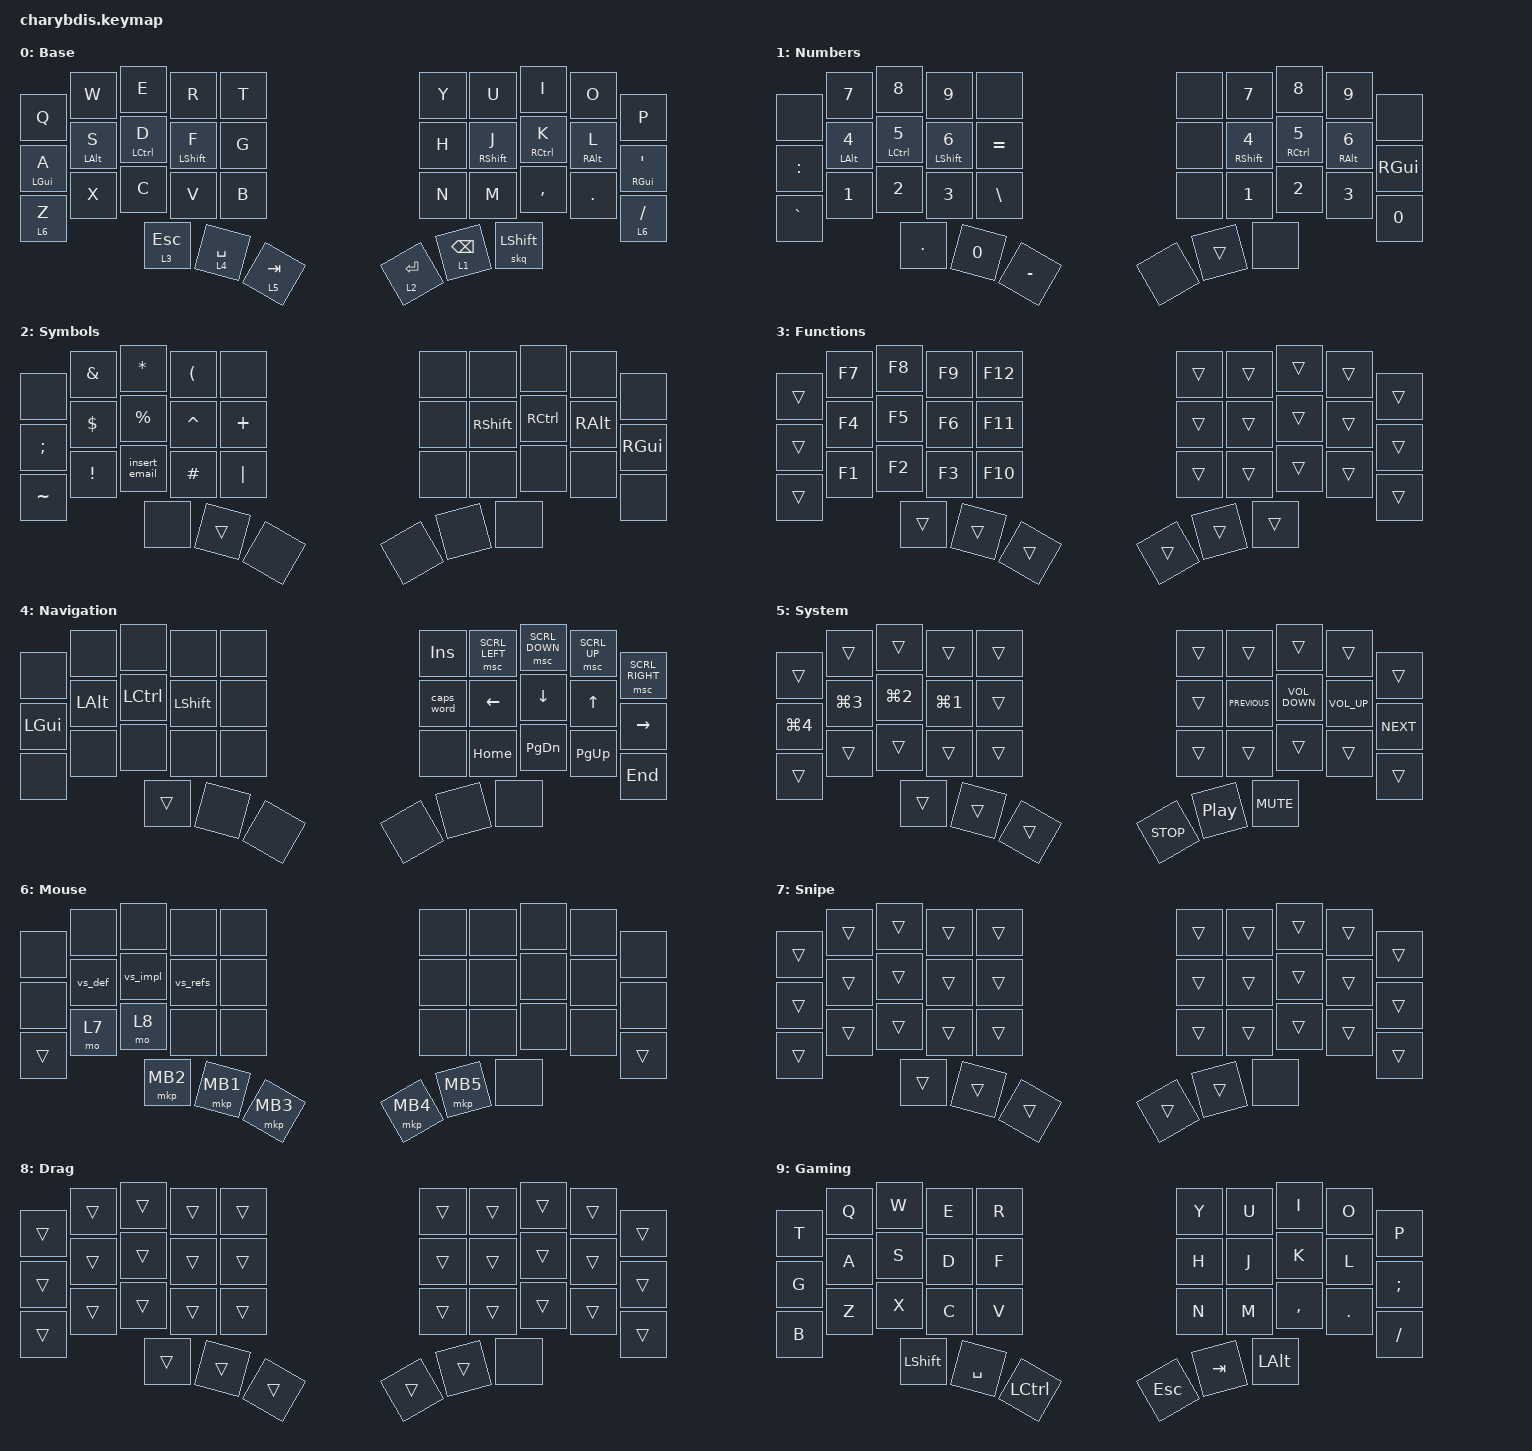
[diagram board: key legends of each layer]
#include <behaviors.dtsi>
#include <dt-bindings/zmk/keys.h>
#include <dt-bindings/zmk/bt.h>
#include <dt-bindings/zmk/mouse.h>

/ {
    trackball_listener {
        compatible = "zmk,input-listener";
        device = <&trackball_r_split>;
    };

    trackball_l_listener {
        compatible = "zmk,input-listener";
        device = <&trackball_l_split>;
    };

    behaviors {
        hl: homewrow_mods_left {
            compatible = "zmk,behavior-hold-tap";
            label = "HOMEROW_MODS_LEFT_HAND";
            bindings = <&kp>, <&kp>;

            #binding-cells = <2>;
            flavor = "balanced";
            tapping-term-ms = <260>;
            quick-tap-ms = <175>;
            require-prior-idle-ms = <150>;
            hold-trigger-on-release;
            hold-trigger-key-positions = <5 25 15 33 34 26 16 17 28 18 27 29 19 8 9 7 6>;
        };

        hr: homewrow_mods_right {
            compatible = "zmk,behavior-hold-tap";
            label = "HOMEROW_MODS_RIGHT_HAND";
            bindings = <&kp>, <&kp>;

            #binding-cells = <2>;
            flavor = "balanced";
            tapping-term-ms = <260>;
            quick-tap-ms = <175>;
            require-prior-idle-ms = <150>;
            hold-trigger-on-release;
            hold-trigger-key-positions = <0 10 20 22 21 11 2 1 12 13 3 4 14 24 30 23 31 32>;
        };

        insert_email: insert_email {
            compatible = "zmk,behavior-tap-dance";
            label = "INSERT_EMAIL";
            #binding-cells = <0>;
            bindings = <&kp AT_SIGN>, <&email>;
        };

        skq: sticky_key_quick_release {
            compatible = "zmk,behavior-sticky-key";
            #binding-cells = <1>;
            bindings = <&kp>;
            release-after-ms = <1000>;
            quick-release;
            ignore-modifiers;
        };
    };

    macros {
        vs_def: vs_def {
            compatible = "zmk,behavior-macro";
            #binding-cells = <0>;
            bindings = <&mkp LCLK &kp F12>;
            label = "VS_DEF";
        };

        vs_impl: vs_impl {
            compatible = "zmk,behavior-macro";
            #binding-cells = <0>;
            bindings = <&mkp LCLK &kp LC(F12)>;
            label = "VS_IMPL";
        };

        vs_refs: vs_refs {
            compatible = "zmk,behavior-macro";
            #binding-cells = <0>;
            bindings = <&mkp LCLK &kp LC(K) &kp R>;
            label = "VS_REFS";
        };

        email: email {
            compatible = "zmk,behavior-macro";
            #binding-cells = <0>;
            bindings = <&kp D &kp A &kp P &kp K &kp N2 &kp N0 &kp N0 &kp N3 &kp AT &kp G &kp M &kp A &kp I &kp L &kp DOT &kp C &kp O &kp M>;
            label = "EMAIL";
        };
    };

    // ╭──────┬──────┬──────┬──────┬──────╮  ╭──────┬──────┬──────┬──────┬──────╮
    //    00     01     02     03     04        05     06     07     08     09
    // ├──────┼──────┼──────┼──────┼──────┼  ├──────┼──────┼──────┼──────┼──────┤
    //    10     11     12     13     14        15     16     17     18     19
    // ├──────┼──────┼──────┼──────┼──────┼  ├──────┼──────┼──────┼──────┼──────┤
    //    20     21     22     23     24        25     26     27     28     29
    // ╰──────┴──────┴──────┼──────┼──────┤  ├──────┼──────┴──────┴──────┴──────╯
    //                  30     31     32        33     34     35
    //               ╰──────┴──────┴──────╯  ╰──────┴──────┴──────╯

    combos {
        compatible = "zmk,combos";

        copy {
            bindings = <&kp LC(C)>;
            key-positions = <22 23>;
        };

        paste {
            bindings = <&kp LC(V)>;
            key-positions = <23 24>;
        };

        cut {
            bindings = <&kp LC(X)>;
            key-positions = <21 22>;
        };

        undo {
            bindings = <&kp LC(Z)>;
            key-positions = <20 21>;
        };

        save {
            bindings = <&kp LC(S)>;
            key-positions = <11 12>;
            layers = <0>;
        };

        search {
            bindings = <&kp LC(LS(F))>;
            key-positions = <14 13 12>;
            layers = <0>;
        };

        underscore {
            bindings = <&kp UNDERSCORE>;
            key-positions = <15 25>;
        };

        dash {
            bindings = <&kp MINUS>;
            key-positions = <26 16>;
        };

        semicolon {
            bindings = <&kp SEMICOLON>;
            key-positions = <17 27>;
        };

        colon {
            bindings = <&kp COLON>;
            key-positions = <18 28>;
        };

        question {
            bindings = <&kp QUESTION>;
            key-positions = <19 29>;
        };

        backspace {
            bindings = <&kp BSPC>;
            key-positions = <6 7>;
        };

        delete {
            bindings = <&kp DEL>;
            key-positions = <7 8>;
        };

        left-bracket {
            bindings = <&kp LEFT_PARENTHESIS>;
            key-positions = <16 17>;
        };

        right-bracket {
            bindings = <&kp RIGHT_PARENTHESIS>;
            key-positions = <17 18>;
        };

        left-square {
            bindings = <&kp LEFT_BRACKET>;
            key-positions = <26 27>;
        };

        right-square {
            bindings = <&kp RIGHT_BRACKET>;
            key-positions = <27 28>;
        };

        gaming-layer {
            bindings = <&tog 9>;
            key-positions = <0 1 2>;
            layers = <0 9>;
        };
    };

    keymap {
        compatible = "zmk,keymap";

        Base {
            bindings = <
  &kp Q       &kp W           &kp E        &kp R        &kp T        &kp Y        &kp U            &kp I         &kp O       &kp P
  &hl LGUI A  &hl LEFT_ALT S  &hl LCTRL D  &hl LSHFT F  &kp G        &kp H        &hr RSHFT J      &hr RCTRL K   &hr RALT L  &hr RGUI SQT
  &lt 6 Z     &kp X           &kp C        &kp V        &kp B        &kp N        &kp M            &kp COMMA     &kp DOT     &lt 6 SLASH
                              &lt 3 ESC    &lt 4 SPACE  &lt 5 TAB    &lt 2 ENTER  &lt 1 BACKSPACE  &skq LSHFT
            >;
        };

        Numbers {
            bindings = <
  &none      &kp NUMBER_7       &kp NUMBER_8  &kp NUMBER_9        &none            &none  &kp N7        &kp N8        &kp N9       &none
  &kp COLON  &hl LALT NUMBER_4  &hl LCTRL N5  &hl LSHFT NUMBER_6  &kp EQUAL        &none  &hr RSHFT N4  &hr RCTRL N5  &hr RALT N6  &kp RGUI
  &kp GRAVE  &kp NUMBER_1       &kp NUMBER_2  &kp NUMBER_3        &kp BACKSLASH    &none  &kp N1        &kp N2        &kp N3       &kp N0
                                &kp PERIOD    &kp NUMBER_0        &kp MINUS        &none  &trans        &none
            >;
        };

        Symbols {
            bindings = <
  &none          &kp AMPERSAND    &kp ASTERISK   &kp LEFT_PARENTHESIS  &none       &none  &none            &none              &none          &none
  &kp SEMICOLON  &kp DOLLAR       &kp PERCENT    &kp CARET             &kp PLUS    &none  &kp RIGHT_SHIFT  &kp RIGHT_CONTROL  &kp RIGHT_ALT  &kp RIGHT_GUI
  &kp TILDE      &kp EXCLAMATION  &insert_email  &kp HASH              &kp PIPE    &none  &none            &none              &none          &none
                                  &none          &trans                &none       &none  &none            &none
            >;
        };

        Functions {
            bindings = <
  &trans  &kp F7  &kp F8  &kp F9  &kp F12    &trans  &trans  &trans  &trans  &trans
  &trans  &kp F4  &kp F5  &kp F6  &kp F11    &trans  &trans  &trans  &trans  &trans
  &trans  &kp F1  &kp F2  &kp F3  &kp F10    &trans  &trans  &trans  &trans  &trans
                  &trans  &trans  &trans     &trans  &trans  &trans
            >;
        };

        Navigation {
            bindings = <
  &none         &none         &none             &none           &none    &kp INSERT  &msc SCRL_LEFT  &msc SCRL_DOWN  &msc SCRL_UP  &msc SCRL_RIGHT
  &kp LEFT_GUI  &kp LEFT_ALT  &kp LEFT_CONTROL  &kp LEFT_SHIFT  &none    &caps_word  &kp LEFT        &kp DOWN_ARROW  &kp UP_ARROW  &kp RIGHT
  &none         &none         &none             &none           &none    &none       &kp HOME        &kp PAGE_DOWN   &kp PAGE_UP   &kp END
                              &trans            &none           &none    &none       &none           &none
            >;
        };

        System {
            bindings = <
  &trans            &trans            &trans            &trans            &trans    &trans      &trans            &trans             &trans           &trans
  &kp LG(NUMBER_4)  &kp LG(NUMBER_3)  &kp LG(NUMBER_2)  &kp LG(NUMBER_1)  &trans    &trans      &kp C_PREVIOUS    &kp C_VOLUME_DOWN  &kp C_VOLUME_UP  &kp C_NEXT
  &trans            &trans            &trans            &trans            &trans    &trans      &trans            &trans             &trans           &trans
                                      &trans            &trans            &trans    &kp C_STOP  &kp C_PLAY_PAUSE  &kp K_MUTE
            >;
        };

        Mouse {
            bindings = <
  &none   &none    &none     &none     &none       &none     &none     &none  &none  &none
  &none   &vs_def  &vs_impl  &vs_refs  &none       &none     &none     &none  &none  &none
  &trans  &mo 7    &mo 8     &none     &none       &none     &none     &none  &none  &trans
                   &mkp MB2  &mkp MB1  &mkp MB3    &mkp MB4  &mkp MB5  &none
            >;
        };

        Snipe {
            bindings = <
  &trans  &trans  &trans  &trans  &trans    &trans  &trans  &trans  &trans  &trans
  &trans  &trans  &trans  &trans  &trans    &trans  &trans  &trans  &trans  &trans
  &trans  &trans  &trans  &trans  &trans    &trans  &trans  &trans  &trans  &trans
                  &trans  &trans  &trans    &trans  &trans  &none
            >;
        };

        Drag {
            bindings = <
  &trans  &trans  &trans  &trans  &trans    &trans  &trans  &trans  &trans  &trans
  &trans  &trans  &trans  &trans  &trans    &trans  &trans  &trans  &trans  &trans
  &trans  &trans  &trans  &trans  &trans    &trans  &trans  &trans  &trans  &trans
                  &trans  &trans  &trans    &trans  &trans  &none
            >;
        };

        Gaming {
            bindings = <
  &kp T  &kp Q  &kp W           &kp E      &kp R      &kp Y       &kp U      &kp I         &kp O       &kp P
  &kp G  &kp A  &kp S           &kp D      &kp F      &kp H       &kp J      &kp K         &kp L       &kp SEMI
  &kp B  &kp Z  &kp X           &kp C      &kp V      &kp N       &kp M      &kp COMMA     &kp PERIOD  &kp SLASH
                &kp LEFT_SHIFT  &kp SPACE  &kp LEFT_CONTROL    &kp ESCAPE  &kp TAB  &kp LEFT_ALT
            >;
        };
    };
};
